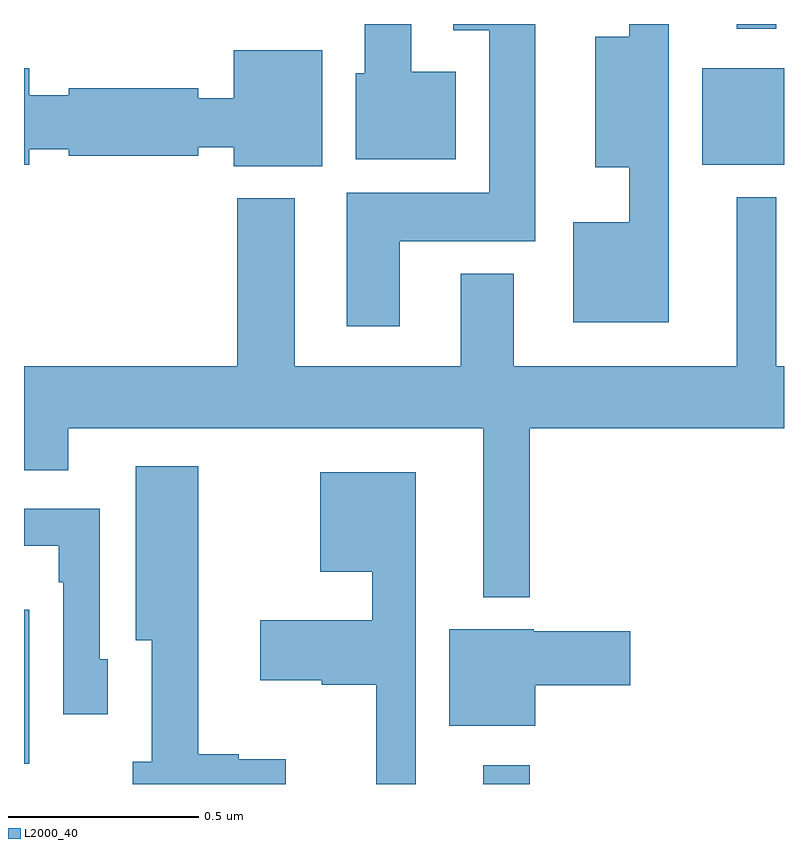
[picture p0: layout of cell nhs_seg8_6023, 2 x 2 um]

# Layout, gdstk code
import gdstk
lib = gdstk.Library(unit=1e-6, precision=1e-09)
def R(c, l, rs):  # rectangles x0, y0, x1, y1
    for r in rs: c.add(gdstk.rectangle(r[:2], r[2:], *l))
def P(c, l, *ps):  # polygons
    for p in ps: c.add(gdstk.Polygon(p, *l))
L2000_40 = (2000, 40)

nhs_seg8_6023 = lib.new_cell('nhs_seg8_6023')
R(nhs_seg8_6023, L2000_40, [(192.209,1112.9,192.331,1112.95), (191,1112.953,191.014,1113.358), (192.785,1114.529,193,1114.783), (192.875,1114.887,192.979,1114.9)])
P(nhs_seg8_6023, L2000_40, [(192.136,1114.774),(192.019,1114.774),(192.019,1114.9),(191.897,1114.9),(191.897,1114.77),(191.873,1114.77),(191.873,1114.544),(192.136,1114.544)],
  [(191.989,1114.328),(192.346,1114.328),(192.346,1114.9),(192.129,1114.9),(192.129,1114.883),(192.224,1114.883),(192.224,1114.456),(191.849,1114.456),(191.849,1114.104),(191.989,1114.104)],
  [(192.697,1114.9),(192.593,1114.9),(192.593,1114.867),(192.503,1114.867),(192.503,1114.523),(192.593,1114.523),(192.593,1114.378),(192.446,1114.378),(192.446,1114.115),(192.697,1114.115)],
  [(191.785,1114.831),(191.552,1114.831),(191.552,1114.705),(191.458,1114.705),(191.458,1114.731),(191.118,1114.731),(191.118,1114.713),(191.014,1114.713),(191.014,1114.783),(191,1114.783),(191,1114.529),(191.014,1114.529),(191.014,1114.571),(191.118,1114.571),(191.118,1114.553),(191.458,1114.553),(191.458,1114.576),(191.552,1114.576),(191.552,1114.526),(191.785,1114.526)],
  [(192.331,1113.836),(193,1113.836),(193,1114),(192.979,1114),(192.979,1114.444),(192.875,1114.444),(192.875,1114),(192.289,1114),(192.289,1114.243),(192.149,1114.243),(192.149,1114),(191.713,1114),(191.713,1114.441),(191.561,1114.441),(191.561,1114),(191,1114),(191,1113.726),(191.116,1113.726),(191.116,1113.836),(192.209,1113.836),(192.209,1113.392),(192.331,1113.392)],
  [(191.689,1112.965),(191.565,1112.965),(191.565,1112.978),(191.458,1112.978),(191.458,1113.736),(191.294,1113.736),(191.294,1113.278),(191.336,1113.278),(191.336,1112.958),(191.286,1112.958),(191.286,1112.9),(191.689,1112.9)],
  [(192.031,1113.721),(191.78,1113.721),(191.78,1113.458),(191.917,1113.458),(191.917,1113.331),(191.622,1113.331),(191.622,1113.173),(191.783,1113.173),(191.783,1113.161),(191.927,1113.161),(191.927,1112.9),(192.031,1112.9)],
  [(191.22,1113.228),(191.199,1113.228),(191.199,1113.624),(191,1113.624),(191,1113.527),(191.091,1113.527),(191.091,1113.431),(191.103,1113.431),(191.103,1113.084),(191.22,1113.084)],
  [(192.346,1113.16),(192.595,1113.16),(192.595,1113.302),(192.342,1113.302),(192.342,1113.307),(192.119,1113.307),(192.119,1113.053),(192.346,1113.053)])

lib.write_gds('nhs_seg8_6023.gds')
